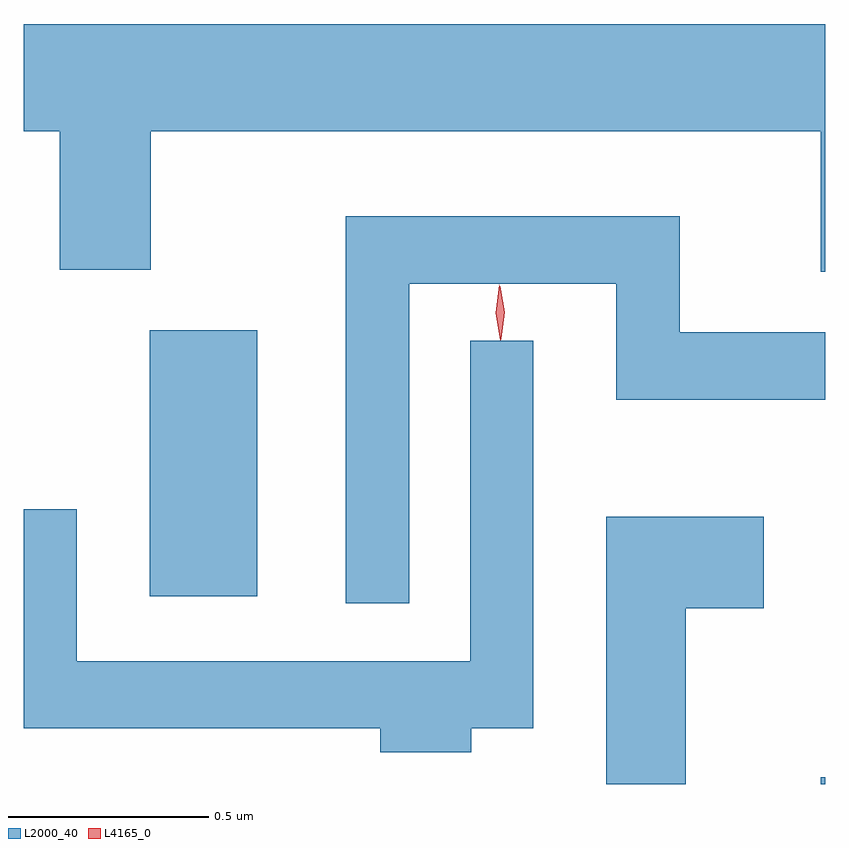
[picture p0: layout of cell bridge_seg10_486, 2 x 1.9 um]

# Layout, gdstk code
import gdstk
lib = gdstk.Library(unit=1e-6, precision=1e-09)
def R(c, l, rs):  # rectangles x0, y0, x1, y1
    for r in rs: c.add(gdstk.rectangle(r[:2], r[2:], *l))
def P(c, l, *ps):  # polygons
    for p in ps: c.add(gdstk.Polygon(p, *l))
L2000_40 = (2000, 40)
L4165_0 = (4165, 0)

bridge_seg10_486 = lib.new_cell('bridge_seg10_486')
R(bridge_seg10_486, L2000_40, [(1445.341,2121.167,1445.352,2121.184), (1443.666,2121.636,1443.934,2122.299)])
P(bridge_seg10_486, L2000_40, [(1445.352,2123.064),(1443.352,2123.064),(1443.352,2122.796),(1443.441,2122.796),(1443.441,2122.451),(1443.669,2122.451),(1443.669,2122.796),(1445.341,2122.796),(1445.341,2122.446),(1445.352,2122.446)],
  [(1444.314,2122.416),(1444.831,2122.416),(1444.831,2122.126),(1445.352,2122.126),(1445.352,2122.294),(1444.989,2122.294),(1444.989,2122.584),(1444.156,2122.584),(1444.156,2121.618),(1444.314,2121.618)],
  [(1444.469,2121.306),(1444.624,2121.306),(1444.624,2122.273),(1444.466,2122.273),(1444.466,2121.474),(1443.484,2121.474),(1443.484,2121.853),(1443.352,2121.853),(1443.352,2121.306),(1444.241,2121.306),(1444.241,2121.246),(1444.469,2121.246)],
  [(1445.004,2121.606),(1445.199,2121.606),(1445.199,2121.834),(1444.806,2121.834),(1444.806,2121.167),(1445.004,2121.167)])
P(bridge_seg10_486, L4165_0, [(1444.541,2122.274),(1444.541,2122.274),(1444.53,2122.343),(1444.538,2122.412),(1444.538,2122.413),(1444.539,2122.412),(1444.55,2122.343),(1444.542,2122.274)],
  [(1444.544,2122.277),(1444.543,2122.278),(1444.532,2122.343),(1444.54,2122.41),(1444.541,2122.41),(1444.541,2122.41),(1444.552,2122.344),(1444.544,2122.278)])

lib.write_gds('bridge_seg10_486.gds')
